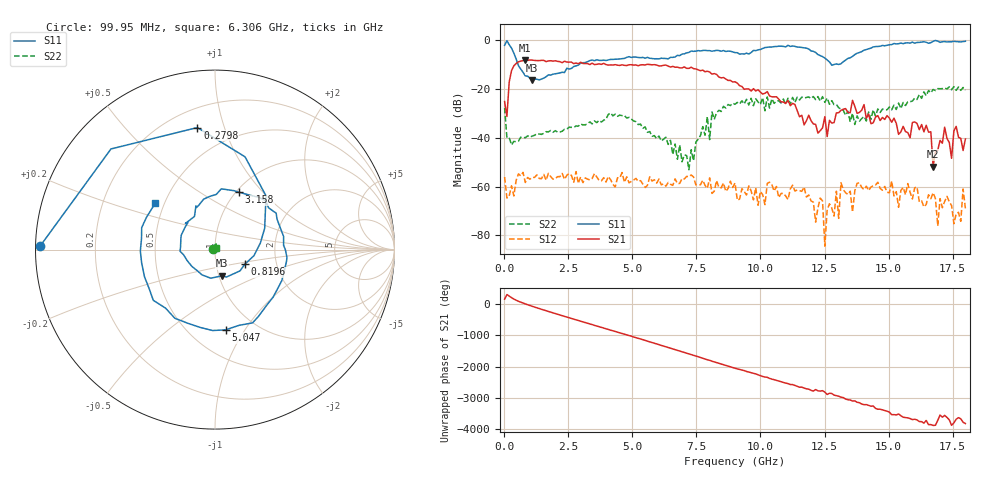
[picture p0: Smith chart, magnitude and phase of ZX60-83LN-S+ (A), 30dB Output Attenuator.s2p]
!Agilent Technologies,E8363B,SG43030126,A.07.50.67
!Agilent E8363B: A.07.50.67
!Date: Monday, August 08, 1988 04:01:13
!Correction: S11(Full 2 Port(1,2))
!S21(Full 2 Port(1,2))
!S12(Full 2 Port(1,2))
!S22(Full 2 Port(1,2))
!S2P File: Measurements: S11, S21, S12, S22:
# Hz S  dB  R 50
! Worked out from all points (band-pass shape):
!   201 points, 10 MHz to 18 GHz, reference 50 ohm
!   highest |S21| = -8.10 dB at 819.5 MHz (marker M1); lowest = -51.8 dB at 16.74 GHz (marker M2)
!   |S21| within 3 dB of the highest: 343.2 MHz to 6.767 GHz (6.424 GHz wide, 181 % of centre); 6.996 GHz to 7.048 GHz (51.35 MHz wide, 0.731 % of centre)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
!   lowest |S11| = -16.4 dB at 1.089 GHz (marker M3), VSWR 1.36, Z = 51.9 - j15.5 ohm
!   |S11| at or under -10 dB: 535.7 MHz to 2.913 GHz (2.378 GHz wide, 138 % of centre); 12.77 GHz to 12.86 GHz (98.49 MHz wide, 0.769 % of centre)
!   |S22| runs from -53.1 to -19.0 dB; largest |S21 - S12| = 0.39
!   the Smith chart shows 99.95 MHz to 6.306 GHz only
!   S11 on the Smith chart (normalised r, x): 99.95 MHz: 0.01, +0.01; 279.9 MHz: 0.32, +0.81; 819.5 MHz: 1.38, -0.23; 3.158 GHz: 1.03, +0.75; 5.047 GHz: 0.73, -0.82; 6.306 GHz: 0.45, +0.28
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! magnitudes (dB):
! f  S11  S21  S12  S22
! 10 MHz  -2.1  -25.2  -56.1  -27.7
! 99.95 MHz  -0.2  -31.3  -64.7  -40.0
! 279.9 MHz  -3.3  -12.5  -59.7  -42.9
! 819.5 MHz  -14.7  -8.1  -58.3  -40.0
! 1.089 GHz  -16.4  -8.2  -56.2  -39.3
! 3.068 GHz  -9.2  -9.5  -58.4  -34.7
! 3.158 GHz  -9.2  -9.6  -56.4  -34.7
! 5.047 GHz  -6.9  -10.2  -57.3  -33.1
! 6.037 GHz  -7.7  -10.6  -56.9  -39.3
! 6.306 GHz  -7.5  -10.2  -59.8  -39.8
! 7.206 GHz  -5.0  -11.6  -55.9  -53.1
! 9.005 GHz  -5.1  -17.1  -58.5  -26.3
! 12.06 GHz  -4.6  -34.3  -66.3  -23.1
! 12.51 GHz  -7.3  -31.3  -84.4  -25.5
! 12.96 GHz  -9.7  -29.8  -61.9  -26.3
! 13.05 GHz  -10.0  -29.7  -73.0  -27.7
! 13.14 GHz  -9.7  -28.7  -58.4  -28.3
! 15.03 GHz  -1.9  -31.9  -62.5  -27.4
! 16.47 GHz  -0.9  -34.9  -67.3  -22.8
! 16.74 GHz  -0.5  -51.8  -62.5  -20.2
! 16.92 GHz  -0.4  -45.1  -76.1  -19.8
! 18 GHz  -0.5  -40.5  -68.9  -20.5
